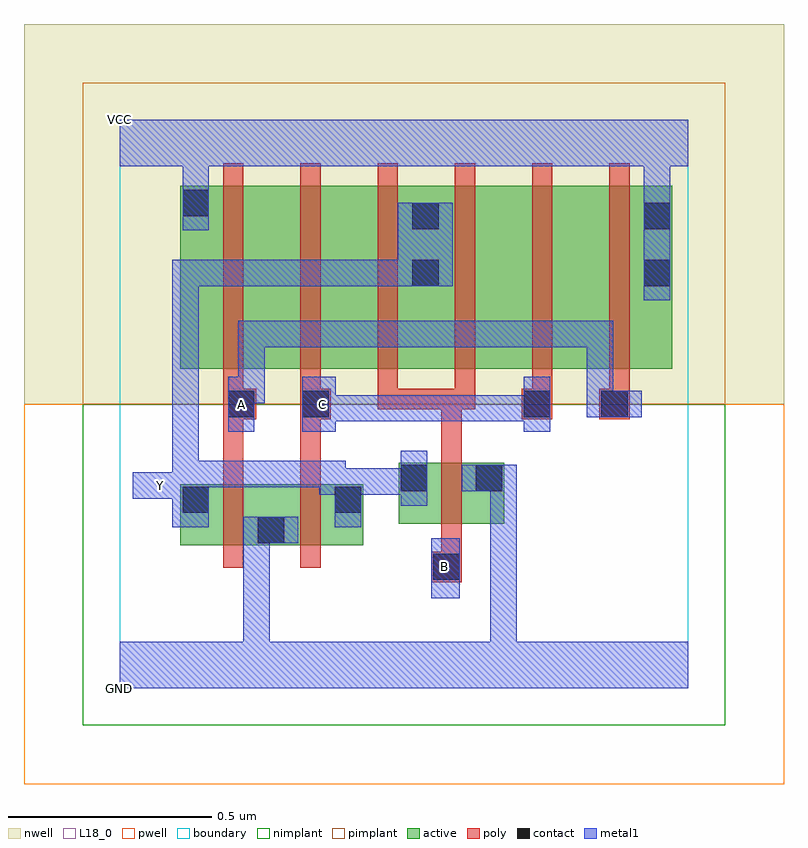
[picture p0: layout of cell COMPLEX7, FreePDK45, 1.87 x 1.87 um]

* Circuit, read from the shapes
.subckt COMPLEX7 A B C GND VCC Y
M1 GND A Y VSUBS nfet w=0.15u l=0.05u
M2 Y C GND VSUBS nfet w=0.15u l=0.05u
M3 GND B Y VSUBS nfet w=0.15u l=0.05u
M4 n1 A VCC n2 pfet w=0.45u l=0.05u
M5 n3 C n1 n2 pfet w=0.45u l=0.05u
M6 Y B n3 n2 pfet w=0.45u l=0.05u
M7 n4 B Y n2 pfet w=0.45u l=0.05u
M8 n5 C n4 n2 pfet w=0.45u l=0.05u
M9 VCC A n5 n2 pfet w=0.45u l=0.05u
.ends

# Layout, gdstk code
import gdstk
lib = gdstk.Library(unit=1e-6, precision=1e-09)
def R(c, l, rs):  # rectangles x0, y0, x1, y1
    for r in rs: c.add(gdstk.rectangle(r[:2], r[2:], *l))
def A(c, l, x, y, w, h, nx, ny, dx, dy):  # array of equal rectangles
    R(c, l, [(x+i*dx, y+j*dy, x+i*dx+w, y+j*dy+h) for i in range(nx) for j in range(ny)])
active = (1, 0)
pwell = (2, 0)
nwell = (3, 0)
nimplant = (4, 0)
pimplant = (5, 0)
poly = (9, 0)
contact = (10, 0)
metal1 = (11, 0)
L18_0 = (18, 0)
boundary = (235, 0)

complex7 = lib.new_cell('COMPLEX7')
R(complex7, active, [(0.15,0.352,0.225,0.502), (0.15,0.352,0.41,0.502), (0.335,0.352,0.41,0.427), (0.335,0.352,0.6,0.502), (0.525,0.352,0.6,0.502), (0.687,0.405,0.947,0.555), (0.872,0.405,0.947,0.555), (0.687,0.48,0.762,0.555), (0.15,0.787,0.225,1.237), (0.15,0.787,0.375,1.237), (0.375,0.787,0.565,1.237), (0.565,0.787,0.79,1.237), (0.715,0.787,0.945,1.237), (0.945,0.787,1.135,1.237), (1.135,0.787,1.36,1.237), (1.285,0.787,1.36,1.237), (0.715,0.857,0.79,1.2)])
R(complex7, pwell, [(-0.235,-0.235,1.635,0.7)])
R(complex7, nwell, [(-0.235,0.7,1.635,1.635)])
R(complex7, nimplant, [(-0.09,-0.09,1.49,0.7)])
R(complex7, pimplant, [(-0.09,0.7,1.49,1.49)])
A(complex7, poly, 0.255, 0.687, 0.05, 0.095, 6, 1, 0.19, 0)
A(complex7, poly, 0.255, 0.732, 0.05, 0.56, 6, 1, 0.19, 0)
R(complex7, poly, [(0.767,0.262,0.842,0.337), (0.792,0.287,0.842,0.4), (0.255,0.297,0.305,0.557), (0.445,0.297,0.495,0.557), (0.792,0.35,0.842,0.61), (0.255,0.507,0.305,0.712), (0.445,0.507,0.495,0.712), (0.792,0.56,0.842,0.737), (0.255,0.662,0.337,0.737), (0.445,0.662,0.52,0.737), (0.99,0.662,1.065,0.737), (1.18,0.662,1.255,0.737), (0.635,0.687,0.842,0.737), (0.635,0.687,0.685,0.737), (0.635,0.687,0.685,0.737), (0.635,0.687,0.685,0.737), (0.792,0.687,0.875,0.737)])
R(complex7, contact, [(0.772,0.267,0.837,0.332), (0.34,0.357,0.405,0.422), (0.155,0.432,0.22,0.497), (0.53,0.432,0.595,0.497), (0.692,0.485,0.757,0.55), (0.877,0.485,0.942,0.55), (0.267,0.667,0.332,0.732), (0.45,0.667,0.515,0.732), (0.995,0.667,1.06,0.732), (1.185,0.667,1.25,0.732), (0.72,0.99,0.785,1.055), (1.29,0.99,1.355,1.055), (0.72,1.13,0.785,1.195), (1.29,1.13,1.355,1.195), (0.155,1.162,0.22,1.227)])
R(complex7, metal1, [(0,0,1.4,0.115), (0.305,0.05,0.37,0.115), (0.305,0.05,0.37,0.115), (0.305,0.05,0.37,0.115), (0.305,0.05,0.37,0.115), (0.305,0.05,0.37,0.422), (0.912,0.05,0.977,0.115), (0.912,0.05,0.977,0.115), (0.912,0.05,0.977,0.115), (0.912,0.05,0.977,0.115), (0.912,0.05,0.977,0.55), (0.767,0.222,0.837,0.37), (0.305,0.357,0.37,0.422), (0.305,0.357,0.37,0.422), (0.305,0.357,0.44,0.422), (0.13,0.397,0.22,0.532), (0.53,0.397,0.595,0.542), (0.692,0.45,0.757,0.585), (0.032,0.467,0.195,0.532), (0.13,0.467,0.195,0.532), (0.13,0.467,0.195,1.055), (0.155,0.467,0.22,0.532), (0.155,0.467,0.22,0.56), (0.492,0.477,0.595,0.542), (0.492,0.477,0.557,0.56), (0.53,0.477,0.695,0.542), (0.63,0.477,0.695,0.542), (0.63,0.477,0.757,0.542), (0.842,0.485,0.977,0.55), (0.912,0.485,0.977,0.55), (0.912,0.485,0.977,0.55), (0.155,0.495,0.377,0.56), (0.312,0.495,0.377,0.56), (0.312,0.495,0.557,0.56), (0.267,0.632,0.332,0.767), (0.45,0.632,0.532,0.767), (0.995,0.632,1.06,0.767), (0.467,0.657,0.532,0.722), (0.467,0.657,0.532,0.722), (0.467,0.657,0.695,0.722), (0.63,0.657,0.695,0.722), (0.63,0.657,0.732,0.722), (0.667,0.657,0.732,0.722), (0.667,0.657,0.922,0.722), (0.857,0.657,0.922,0.722), (0.857,0.657,1.06,0.722), (0.995,0.657,1.06,0.722), (0.995,0.657,1.06,0.722), (1.15,0.667,1.215,0.732), (1.15,0.667,1.215,0.732), (1.15,0.667,1.285,0.732), (1.15,0.667,1.215,0.905), (0.267,0.702,0.357,0.767), (0.292,0.702,0.357,0.767), (0.292,0.702,0.357,0.905), (0.292,0.84,0.357,0.905), (0.292,0.84,0.557,0.905), (0.492,0.84,0.557,0.905), (0.492,0.84,0.557,0.905), (0.492,0.84,0.557,0.905), (0.492,0.84,0.695,0.905), (0.63,0.84,0.695,0.905), (0.63,0.84,0.77,0.905), (0.705,0.84,0.77,0.905), (0.705,0.84,0.832,0.905), (0.767,0.84,0.832,0.905), (0.767,0.84,1.077,0.905), (1.012,0.84,1.077,0.905), (1.012,0.84,1.077,0.905), (1.012,0.84,1.077,0.905), (1.012,0.84,1.215,0.905), (1.15,0.84,1.215,0.905), (1.29,0.955,1.355,1.23), (0.13,0.99,0.195,1.055), (0.13,0.99,0.195,1.055), (0.13,0.99,0.195,1.055), (0.13,0.99,0.195,1.055), (0.13,0.99,0.195,1.055), (0.13,0.99,0.395,1.055), (0.33,0.99,0.395,1.055), (0.33,0.99,0.557,1.055), (0.492,0.99,0.557,1.055), (0.492,0.99,0.557,1.055), (0.492,0.99,0.557,1.055), (0.492,0.99,0.695,1.055), (0.63,0.99,0.695,1.055), (0.63,0.99,0.75,1.055), (0.685,0.99,0.82,1.195), (0.155,1.127,0.22,1.262), (1.29,1.165,1.355,1.35), (0.155,1.197,0.22,1.35), (0,1.285,1.4,1.4)])
R(complex7, L18_0, [(0,0,1.4,0.115), (0.305,0.05,0.37,0.115), (0.305,0.05,0.37,0.115), (0.305,0.05,0.37,0.115), (0.305,0.05,0.37,0.115), (0.305,0.05,0.37,0.422), (0.912,0.05,0.977,0.115), (0.912,0.05,0.977,0.115), (0.912,0.05,0.977,0.115), (0.912,0.05,0.977,0.115), (0.912,0.05,0.977,0.55), (0.767,0.222,0.837,0.37), (0.767,0.267,0.832,0.332), (0.305,0.357,0.37,0.422), (0.305,0.357,0.37,0.422), (0.305,0.357,0.44,0.422), (0.13,0.397,0.22,0.532), (0.53,0.397,0.595,0.542), (0.692,0.45,0.757,0.585), (0.032,0.467,0.195,0.532), (0.067,0.467,0.132,0.532), (0.13,0.467,0.195,0.532), (0.13,0.467,0.195,1.055), (0.155,0.467,0.22,0.532), (0.155,0.467,0.22,0.56), (0.492,0.477,0.557,0.56), (0.492,0.477,0.595,0.542), (0.53,0.477,0.695,0.542), (0.63,0.477,0.695,0.542), (0.63,0.477,0.757,0.542), (0.842,0.485,0.977,0.55), (0.912,0.485,0.977,0.55), (0.912,0.485,0.977,0.55), (0.155,0.495,0.377,0.56), (0.312,0.495,0.377,0.56), (0.312,0.495,0.557,0.56), (0.267,0.632,0.332,0.767), (0.45,0.632,0.532,0.767), (0.995,0.632,1.06,0.767), (0.467,0.657,0.532,0.722), (0.467,0.657,0.532,0.722), (0.467,0.657,0.695,0.722), (0.63,0.657,0.695,0.722), (0.63,0.657,0.732,0.722), (0.667,0.657,0.732,0.722), (0.667,0.657,0.922,0.722), (0.857,0.657,0.922,0.722), (0.857,0.657,1.06,0.722), (0.995,0.657,1.06,0.722), (0.995,0.657,1.06,0.722), (0.267,0.667,0.332,0.732), (0.467,0.667,0.532,0.732), (1.15,0.667,1.215,0.732), (1.15,0.667,1.215,0.732), (1.15,0.667,1.285,0.732), (1.15,0.667,1.215,0.905), (0.267,0.702,0.357,0.767), (0.292,0.702,0.357,0.767), (0.292,0.702,0.357,0.905), (0.292,0.84,0.357,0.905), (0.292,0.84,0.557,0.905), (0.492,0.84,0.557,0.905), (0.492,0.84,0.557,0.905), (0.492,0.84,0.557,0.905), (0.492,0.84,0.695,0.905), (0.63,0.84,0.695,0.905), (0.63,0.84,0.77,0.905), (0.705,0.84,0.77,0.905), (0.705,0.84,0.832,0.905), (0.767,0.84,0.832,0.905), (0.767,0.84,1.077,0.905), (1.012,0.84,1.077,0.905), (1.012,0.84,1.077,0.905), (1.012,0.84,1.077,0.905), (1.012,0.84,1.215,0.905), (1.15,0.84,1.215,0.905), (1.29,0.955,1.355,1.23), (0.13,0.99,0.195,1.055), (0.13,0.99,0.195,1.055), (0.13,0.99,0.195,1.055), (0.13,0.99,0.195,1.055), (0.13,0.99,0.195,1.055), (0.13,0.99,0.395,1.055), (0.33,0.99,0.395,1.055), (0.33,0.99,0.557,1.055), (0.492,0.99,0.557,1.055), (0.492,0.99,0.557,1.055), (0.492,0.99,0.557,1.055), (0.492,0.99,0.695,1.055), (0.63,0.99,0.695,1.055), (0.63,0.99,0.75,1.055), (0.685,0.99,0.82,1.195), (0.155,1.127,0.22,1.262), (1.29,1.165,1.355,1.35), (0.155,1.197,0.22,1.35), (0,1.285,1.4,1.4)])
R(complex7, boundary, [(0,0,1.4,1.4)])
complex7.add(gdstk.Label('A', (0.3,0.7), layer=11, texttype=0))
complex7.add(gdstk.Label('B', (0.8,0.3), layer=11, texttype=0))
complex7.add(gdstk.Label('C', (0.5,0.7), layer=11, texttype=0))
complex7.add(gdstk.Label('Y', (0.1,0.5), layer=11, texttype=0))
complex7.add(gdstk.Label('VCC', (0,1.4), layer=11, texttype=0))
complex7.add(gdstk.Label('GND', (0,0), layer=11, texttype=0))

lib.write_gds('COMPLEX7.gds')
